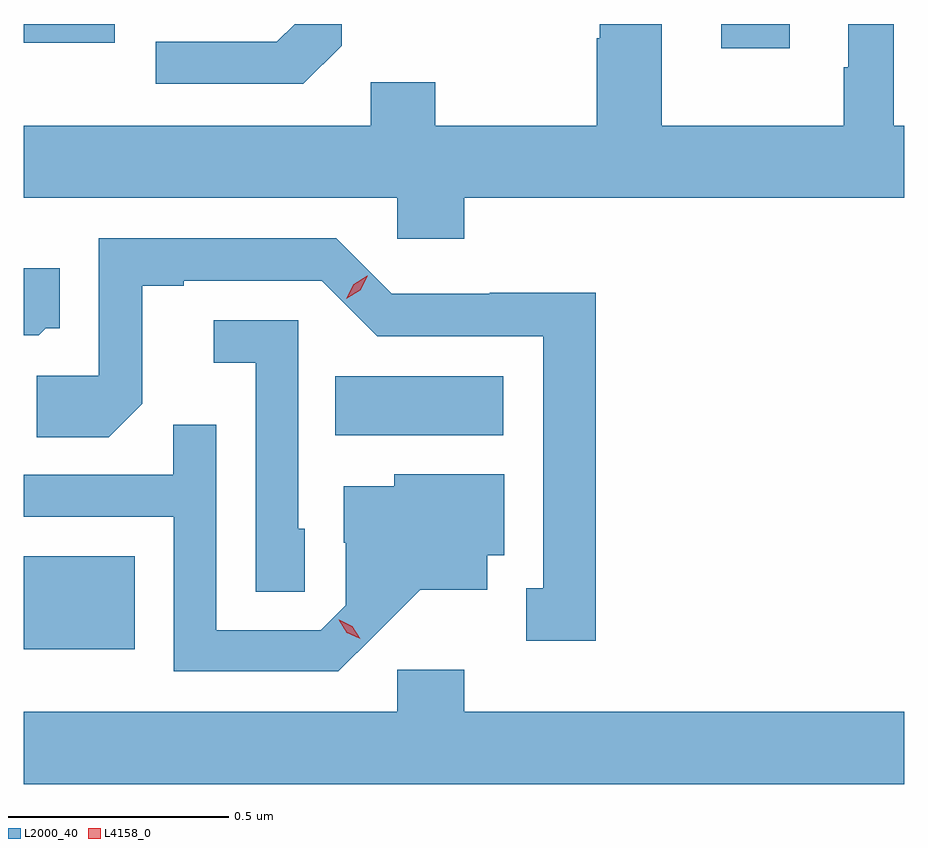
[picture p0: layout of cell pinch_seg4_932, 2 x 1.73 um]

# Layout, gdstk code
import gdstk
lib = gdstk.Library(unit=1e-6, precision=1e-09)
def R(c, l, rs):  # rectangles x0, y0, x1, y1
    for r in rs: c.add(gdstk.rectangle(r[:2], r[2:], *l))
def P(c, l, *ps):  # polygons
    for p in ps: c.add(gdstk.Polygon(p, *l))
L2000_40 = (2000, 40)
L4158_0 = (4158, 0)

pinch_seg4_932 = lib.new_cell('pinch_seg4_932')
R(pinch_seg4_932, L2000_40, [(724.738,826.43,724.99,826.642), (725.446,826.916,725.827,827.05), (726.323,827.796,726.478,827.851), (724.738,827.808,724.944,827.851)])
P(pinch_seg4_932, L2000_40, [(725.738,827.456),(726.738,827.456),(726.738,827.62),(726.715,827.62),(726.715,827.851),(726.611,827.851),(726.611,827.753),(726.601,827.753),(726.601,827.62),(726.187,827.62),(726.187,827.851),(726.047,827.851),(726.047,827.819),(726.04,827.819),(726.04,827.62),(725.673,827.62),(725.673,827.719),(725.526,827.719),(725.526,827.62),(724.738,827.62),(724.738,827.456),(725.586,827.456),(725.586,827.363),(725.738,827.363)],
  [(725.46,827.802),(725.46,827.851),(725.353,827.851),(725.313,827.811),(725.037,827.811),(725.037,827.715),(725.373,827.715)],
  [(726.037,827.24),(725.796,827.24),(725.796,827.238),(725.574,827.238),(725.448,827.364),(724.908,827.364),(724.908,827.052),(724.767,827.052),(724.767,826.912),(724.931,826.912),(725.007,826.988),(725.007,827.256),(725.101,827.256),(725.101,827.268),(725.415,827.268),(725.541,827.142),(725.918,827.142),(725.918,826.569),(725.879,826.569),(725.879,826.449),(726.037,826.449)],
  [(724.788,827.16),(724.819,827.16),(724.819,827.296),(724.738,827.296),(724.738,827.144),(724.772,827.144)],
  [(725.376,826.704),(725.361,826.704),(725.361,827.178),(725.169,827.178),(725.169,827.081),(725.265,827.081),(725.265,826.561),(725.376,826.561)],
  [(725.536,826.463),(725.639,826.565),(725.791,826.565),(725.791,826.644),(725.83,826.644),(725.83,826.828),(725.58,826.828),(725.58,826.801),(725.465,826.801),(725.465,826.672),(725.469,826.672),(725.469,826.53),(725.412,826.473),(725.175,826.473),(725.175,826.94),(725.077,826.94),(725.077,826.827),(724.738,826.827),(724.738,826.731),(725.079,826.731),(725.079,826.38),(725.452,826.38)],
  [(726.738,826.288),(725.738,826.288),(725.738,826.384),(725.586,826.384),(725.586,826.288),(724.738,826.288),(724.738,826.124),(726.738,826.124)])
P(pinch_seg4_932, L4158_0, [(725.47,827.227),(725.47,827.227),(725.487,827.26),(725.518,827.279),(725.519,827.279),(725.519,827.279),(725.502,827.246),(725.47,827.227)],
  [(725.502,826.454),(725.471,826.468),(725.453,826.497),(725.453,826.497),(725.454,826.497),(725.484,826.483),(725.502,826.454),(725.502,826.454)])

lib.write_gds('pinch_seg4_932.gds')
